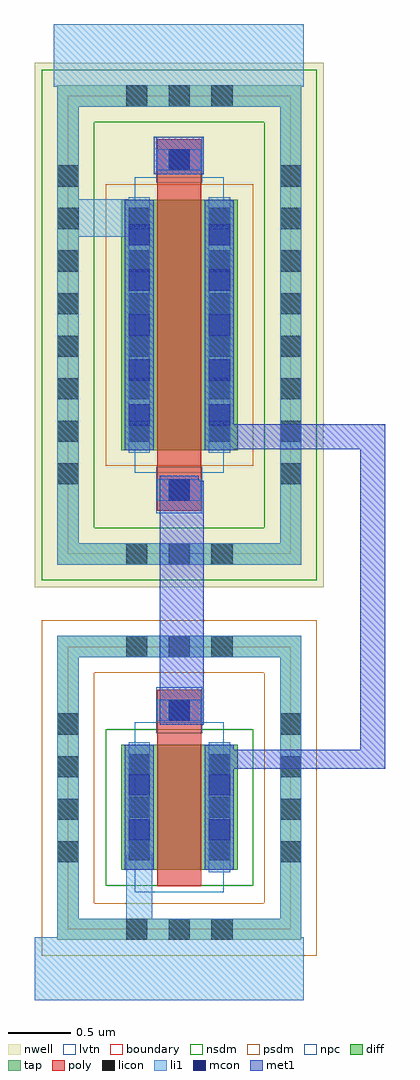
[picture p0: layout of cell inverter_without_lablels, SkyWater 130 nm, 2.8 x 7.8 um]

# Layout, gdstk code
import gdstk
lib = gdstk.Library(unit=1e-6, precision=1e-09)
def R(c, l, rs):  # rectangles x0, y0, x1, y1
    for r in rs: c.add(gdstk.rectangle(r[:2], r[2:], *l))
def A(c, l, x, y, w, h, nx, ny, dx, dy):  # array of equal rectangles
    R(c, l, [(x+i*dx, y+j*dy, x+i*dx+w, y+j*dy+h) for i in range(nx) for j in range(ny)])
nwell = (64, 20)
diff = (65, 20)
tap = (65, 44)
poly = (66, 20)
licon = (66, 44)
li1 = (67, 20)
mcon = (67, 44)
met1 = (68, 20)
nsdm = (93, 44)
psdm = (94, 20)
npc = (95, 20)
lvtn = (125, 44)
boundary = (235, 4)

sky130_fd_pr__pfet_01v8_ = lib.new_cell('sky130_fd_pr__pfet_01v8_lvt_H3B8D4')
R(sky130_fd_pr__pfet_01v8_, nwell, [(-1.155,-2.095,1.155,2.095)])
R(sky130_fd_pr__pfet_01v8_, diff, [(-0.465,-1,0.465,1)])
R(sky130_fd_pr__pfet_01v8_, tap, [(-0.975,-1.915,0.975,-1.745), (-0.975,-1.745,-0.805,1.745), (0.805,-1.745,0.975,1.745), (-0.975,1.745,0.975,1.915)])
R(sky130_fd_pr__pfet_01v8_, poly, [(-0.175,-1.485,0.175,1.485)])
A(sky130_fd_pr__pfet_01v8_, licon, -0.425, -1.915, 0.17, 0.17, 3, 2, 0.34, 3.66)
A(sky130_fd_pr__pfet_01v8_, licon, -0.975, -1.275, 0.17, 0.17, 1, 8, 0, 0.34)
A(sky130_fd_pr__pfet_01v8_, licon, 0.805, -1.275, 0.17, 0.17, 1, 8, 0, 0.34)
A(sky130_fd_pr__pfet_01v8_, licon, -0.405, -0.935, 0.17, 0.17, 1, 6, 0, 0.34)
A(sky130_fd_pr__pfet_01v8_, licon, 0.235, -0.935, 0.17, 0.17, 1, 6, 0, 0.34)
R(sky130_fd_pr__pfet_01v8_, licon, [(-0.085,-1.405,0.085,-1.235), (-0.085,1.235,0.085,1.405)])
R(sky130_fd_pr__pfet_01v8_, li1, [(-0.975,-1.915,0.975,-1.745), (-0.975,-1.745,-0.805,1.745), (0.805,-1.745,0.975,1.745), (-0.175,-1.405,0.175,-1.235), (-0.405,-1.02,-0.235,1.02), (0.235,-1.02,0.405,1.02), (-0.175,1.235,0.175,1.405), (-0.975,1.745,0.975,1.915)])
A(sky130_fd_pr__pfet_01v8_, mcon, -0.405, -0.805, 0.17, 0.17, 1, 5, 0, 0.36)
A(sky130_fd_pr__pfet_01v8_, mcon, 0.235, -0.805, 0.17, 0.17, 1, 5, 0, 0.36)
R(sky130_fd_pr__pfet_01v8_, mcon, [(-0.085,-1.405,0.085,-1.235), (-0.085,1.235,0.085,1.405)])
R(sky130_fd_pr__pfet_01v8_, met1, [(-0.155,-1.435,0.155,-1.205), (-0.435,-1,-0.205,1), (0.205,-1,0.435,1), (-0.155,1.205,0.155,1.435)])
R(sky130_fd_pr__pfet_01v8_, nsdm, [(-1.1,-2.04,1.1,-1.62), (-1.1,-1.62,-0.68,1.62), (0.68,-1.62,1.1,1.62), (-1.1,1.62,1.1,2.04)])
R(sky130_fd_pr__pfet_01v8_, psdm, [(-0.59,-1.125,0.59,1.125)])
R(sky130_fd_pr__pfet_01v8_, npc, [(-0.185,-1.505,0.185,-1.135), (-0.185,1.135,0.185,1.505)])
R(sky130_fd_pr__pfet_01v8_, lvtn, [(-0.355,-1.18,0.355,1.18)])
R(sky130_fd_pr__pfet_01v8_, boundary, [(-0.89,-1.83,0.89,1.83)])

sky130_fd_pr__nfet_01v8_ = lib.new_cell('sky130_fd_pr__nfet_01v8_lvt_7BZAKN')
R(sky130_fd_pr__nfet_01v8_, diff, [(-0.465,-0.655,0.465,0.345)])
R(sky130_fd_pr__nfet_01v8_, tap, [(-0.975,-1.215,0.975,-1.045), (-0.975,-1.045,-0.805,1.045), (0.805,-1.045,0.975,1.045), (-0.975,1.045,0.975,1.215)])
R(sky130_fd_pr__nfet_01v8_, poly, [(-0.175,-0.785,0.175,0.785)])
A(sky130_fd_pr__nfet_01v8_, licon, -0.425, -1.215, 0.17, 0.17, 3, 2, 0.34, 2.26)
A(sky130_fd_pr__nfet_01v8_, licon, -0.975, -0.595, 0.17, 0.17, 1, 4, 0, 0.34)
A(sky130_fd_pr__nfet_01v8_, licon, 0.805, -0.595, 0.17, 0.17, 1, 4, 0, 0.34)
A(sky130_fd_pr__nfet_01v8_, licon, -0.405, -0.58, 0.17, 0.17, 1, 3, 0, 0.34)
A(sky130_fd_pr__nfet_01v8_, licon, 0.235, -0.58, 0.17, 0.17, 1, 3, 0, 0.34)
R(sky130_fd_pr__nfet_01v8_, licon, [(-0.085,0.535,0.085,0.705)])
R(sky130_fd_pr__nfet_01v8_, li1, [(-0.975,-1.215,0.975,-1.045), (-0.975,-1.045,-0.805,1.045), (0.805,-1.045,0.975,1.045), (-0.405,-0.675,-0.235,0.365), (0.235,-0.675,0.405,0.365), (-0.175,0.535,0.175,0.705), (-0.975,1.045,0.975,1.215)])
R(sky130_fd_pr__nfet_01v8_, mcon, [(-0.405,-0.42,-0.235,-0.25), (0.235,-0.42,0.405,-0.25), (-0.405,-0.06,-0.235,0.11), (0.235,-0.06,0.405,0.11), (-0.085,0.535,0.085,0.705)])
R(sky130_fd_pr__nfet_01v8_, met1, [(-0.435,-0.655,-0.205,0.345), (0.205,-0.655,0.435,0.345), (-0.155,0.505,0.155,0.735)])
R(sky130_fd_pr__nfet_01v8_, nsdm, [(-0.59,-0.78,0.59,0.47)])
R(sky130_fd_pr__nfet_01v8_, psdm, [(-1.1,-1.34,1.1,-0.92), (-1.1,-0.92,-0.68,0.92), (0.68,-0.92,1.1,0.92), (-1.1,0.92,1.1,1.34)])
R(sky130_fd_pr__nfet_01v8_, npc, [(-0.185,0.435,0.185,0.805)])
R(sky130_fd_pr__nfet_01v8_, lvtn, [(-0.355,-0.835,0.355,0.525)])
R(sky130_fd_pr__nfet_01v8_, boundary, [(-0.89,-1.13,0.89,1.13)])

inverter_without_lablels = lib.new_cell('inverter_without_lablels')
R(inverter_without_lablels, li1, [(-0.25,-1.25,1.9,-0.75), (0.48,-0.75,0.69,-0.09), (-0.05,4.85,0.65,5.15), (-0.1,6.05,1.9,6.55)])
R(inverter_without_lablels, met1, [(1.15,0.6,2.55,0.75), (2.35,0.75,2.55,3.15), (0.75,0.95,1.1,2.9), (1.15,3.15,2.55,3.35), (0.7,5.35,1.1,5.65)])
inverter_without_lablels.add(gdstk.Reference(sky130_fd_pr__pfet_01v8_, (0.905,4.145)))
inverter_without_lablels.add(gdstk.Reference(sky130_fd_pr__nfet_01v8_, (0.905,0.445)))

lib.write_gds('inverter_without_lablels.gds')
